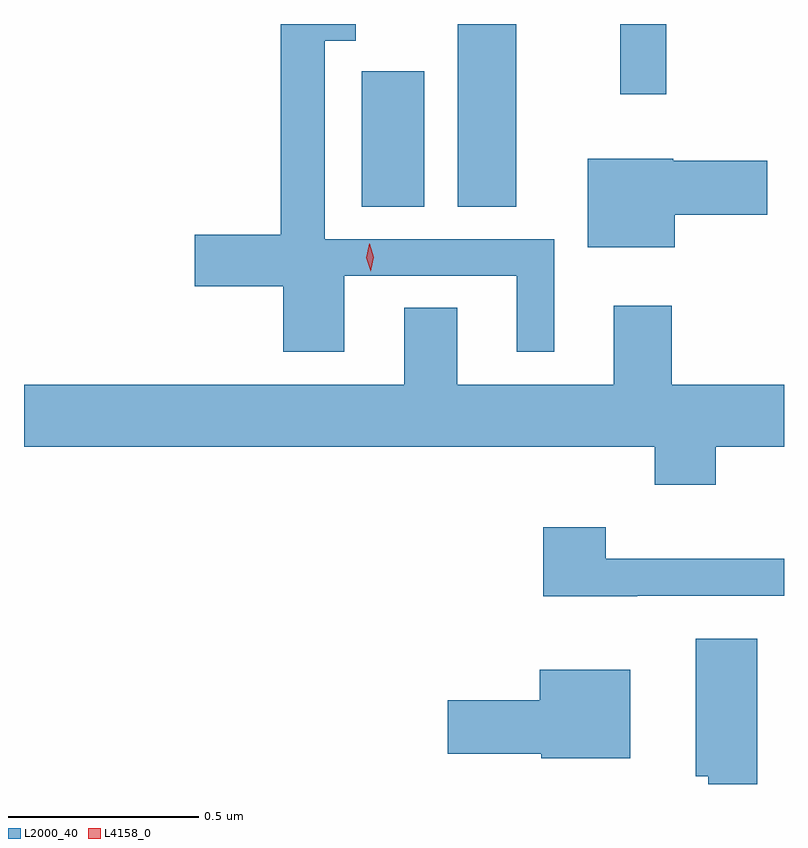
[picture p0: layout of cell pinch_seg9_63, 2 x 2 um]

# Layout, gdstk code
import gdstk
lib = gdstk.Library(unit=1e-6, precision=1e-09)
def R(c, l, rs):  # rectangles x0, y0, x1, y1
    for r in rs: c.add(gdstk.rectangle(r[:2], r[2:], *l))
def P(c, l, *ps):  # polygons
    for p in ps: c.add(gdstk.Polygon(p, *l))
L2000_40 = (2000, 40)
L4158_0 = (4158, 0)

pinch_seg9_63 = lib.new_cell('pinch_seg9_63')
R(pinch_seg9_63, L2000_40, [(905.258,1174.408,905.422,1174.765), (905.51,1174.408,905.665,1174.889), (905.938,1174.704,906.059,1174.889)])
P(pinch_seg9_63, L2000_40, [(905.212,1174.227),(905.666,1174.227),(905.666,1174.026),(905.764,1174.026),(905.764,1174.323),(905.16,1174.323),(905.16,1174.845),(905.242,1174.845),(905.242,1174.889),(905.044,1174.889),(905.044,1174.334),(904.818,1174.334),(904.818,1174.199),(905.051,1174.199),(905.051,1174.026),(905.212,1174.026)],
  [(906.082,1174.387),(906.325,1174.387),(906.325,1174.529),(906.078,1174.529),(906.078,1174.534),(905.852,1174.534),(905.852,1174.301),(906.082,1174.301)],
  [(906.189,1173.776),(906.369,1173.776),(906.369,1173.94),(906.074,1173.94),(906.074,1174.147),(905.921,1174.147),(905.921,1173.94),(905.509,1173.94),(905.509,1174.142),(905.369,1174.142),(905.369,1173.94),(904.369,1173.94),(904.369,1173.776),(906.029,1173.776),(906.029,1173.677),(906.189,1173.677)],
  [(905.983,1173.384),(906.369,1173.384),(906.369,1173.482),(905.9,1173.482),(905.9,1173.565),(905.735,1173.565),(905.735,1173.383),(905.983,1173.383)],
  [(906.298,1173.271),(906.137,1173.271),(906.137,1172.909),(906.169,1172.909),(906.169,1172.889),(906.298,1172.889)],
  [(905.965,1173.19),(905.726,1173.19),(905.726,1173.11),(905.484,1173.11),(905.484,1172.968),(905.73,1172.968),(905.73,1172.957),(905.965,1172.957)])
P(pinch_seg9_63, L4158_0, [(905.281,1174.239),(905.281,1174.239),(905.27,1174.274),(905.278,1174.311),(905.279,1174.311),(905.279,1174.311),(905.29,1174.275),(905.282,1174.239)])

lib.write_gds('pinch_seg9_63.gds')
